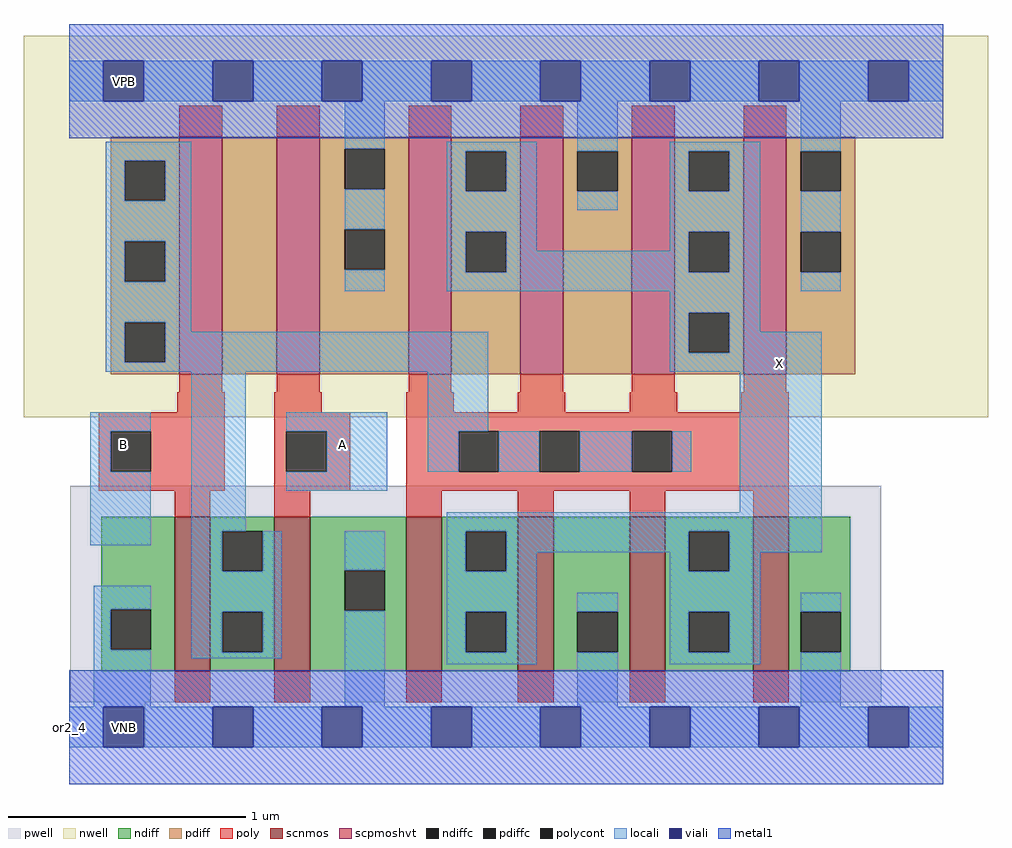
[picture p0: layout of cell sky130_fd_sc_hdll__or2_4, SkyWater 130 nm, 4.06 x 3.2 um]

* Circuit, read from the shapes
.subckt sky130_fd_sc_hdll__or2_4 A B VGND VNB VPB VPWR X
XM1 n1 B VGND VNB sky130_fd_pr__nfet_01v8 w=0.65 l=0.15
XM2 VGND A n1 VNB sky130_fd_pr__nfet_01v8 w=0.65 l=0.15
XM3 X n1 VGND VNB sky130_fd_pr__nfet_01v8 w=0.65 l=0.15 m=4
XM4 n2 B n1 VPB sky130_fd_pr__pfet_01v8_hvt w=1 l=0.18
XM5 VPWR A n2 VPB sky130_fd_pr__pfet_01v8_hvt w=1 l=0.18
XM6 X n1 VPWR VPB sky130_fd_pr__pfet_01v8_hvt w=1 l=0.18 m=4
.ends

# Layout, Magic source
magic
tech sky130A
magscale 1 2
<< nwell >>
rect -38 261 774 582
<< pwell >>
rect 1 21 684 203
rect 30 -17 64 21
<< scnmos >>
rect 89 47 119 177
rect 173 47 203 177
rect 284 47 314 177
rect 378 47 408 177
rect 472 47 502 177
rect 576 47 606 177
<< scpmoshvt >>
rect 93 297 129 497
rect 175 297 211 497
rect 286 297 322 497
rect 380 297 416 497
rect 474 297 510 497
rect 568 297 604 497
<< ndiff >>
rect 27 99 89 177
rect 27 65 35 99
rect 69 65 89 99
rect 27 47 89 65
rect 119 165 173 177
rect 119 131 129 165
rect 163 131 173 165
rect 119 97 173 131
rect 119 63 129 97
rect 163 63 173 97
rect 119 47 173 63
rect 203 132 284 177
rect 203 98 232 132
rect 266 98 284 132
rect 203 47 284 98
rect 314 165 378 177
rect 314 131 334 165
rect 368 131 378 165
rect 314 97 378 131
rect 314 63 334 97
rect 368 63 378 97
rect 314 47 378 63
rect 408 97 472 177
rect 408 63 428 97
rect 462 63 472 97
rect 408 47 472 63
rect 502 165 576 177
rect 502 131 522 165
rect 556 131 576 165
rect 502 97 576 131
rect 502 63 522 97
rect 556 63 576 97
rect 502 47 576 63
rect 606 97 658 177
rect 606 63 616 97
rect 650 63 658 97
rect 606 47 658 63
<< pdiff >>
rect 35 477 93 497
rect 35 443 47 477
rect 81 443 93 477
rect 35 409 93 443
rect 35 375 47 409
rect 81 375 93 409
rect 35 341 93 375
rect 35 307 47 341
rect 81 307 93 341
rect 35 297 93 307
rect 129 297 175 497
rect 211 487 286 497
rect 211 453 232 487
rect 266 453 286 487
rect 211 419 286 453
rect 211 385 232 419
rect 266 385 286 419
rect 211 297 286 385
rect 322 485 380 497
rect 322 451 334 485
rect 368 451 380 485
rect 322 417 380 451
rect 322 383 334 417
rect 368 383 380 417
rect 322 297 380 383
rect 416 485 474 497
rect 416 451 428 485
rect 462 451 474 485
rect 416 297 474 451
rect 510 485 568 497
rect 510 451 522 485
rect 556 451 568 485
rect 510 417 568 451
rect 510 383 522 417
rect 556 383 568 417
rect 510 349 568 383
rect 510 315 522 349
rect 556 315 568 349
rect 510 297 568 315
rect 604 485 662 497
rect 604 451 616 485
rect 650 451 662 485
rect 604 417 662 451
rect 604 383 616 417
rect 650 383 662 417
rect 604 297 662 383
<< ndiffc >>
rect 35 65 69 99
rect 129 131 163 165
rect 129 63 163 97
rect 232 98 266 132
rect 334 131 368 165
rect 334 63 368 97
rect 428 63 462 97
rect 522 131 556 165
rect 522 63 556 97
rect 616 63 650 97
<< pdiffc >>
rect 47 443 81 477
rect 47 375 81 409
rect 47 307 81 341
rect 232 453 266 487
rect 232 385 266 419
rect 334 451 368 485
rect 334 383 368 417
rect 428 451 462 485
rect 522 451 556 485
rect 522 383 556 417
rect 522 315 556 349
rect 616 451 650 485
rect 616 383 650 417
<< poly >>
rect 93 497 129 523
rect 175 497 211 523
rect 286 497 322 523
rect 380 497 416 523
rect 474 497 510 523
rect 568 497 604 523
rect 93 282 129 297
rect 175 282 211 297
rect 286 282 322 297
rect 380 282 416 297
rect 474 282 510 297
rect 568 282 604 297
rect 91 265 131 282
rect 25 249 131 265
rect 25 215 35 249
rect 69 215 131 249
rect 25 199 131 215
rect 173 265 213 282
rect 284 265 324 282
rect 378 265 418 282
rect 472 265 512 282
rect 566 265 606 282
rect 173 249 237 265
rect 173 215 183 249
rect 217 215 237 249
rect 173 199 237 215
rect 284 249 606 265
rect 284 215 328 249
rect 362 215 396 249
rect 430 215 474 249
rect 508 215 606 249
rect 284 199 606 215
rect 89 177 119 199
rect 173 177 203 199
rect 284 177 314 199
rect 378 177 408 199
rect 472 177 502 199
rect 576 177 606 199
rect 89 21 119 47
rect 173 21 203 47
rect 284 21 314 47
rect 378 21 408 47
rect 472 21 502 47
rect 576 21 606 47
<< polycont >>
rect 35 215 69 249
rect 183 215 217 249
rect 328 215 362 249
rect 396 215 430 249
rect 474 215 508 249
<< locali >>
rect 0 527 29 561
rect 63 527 121 561
rect 155 527 213 561
rect 247 527 305 561
rect 339 527 397 561
rect 431 527 489 561
rect 523 527 581 561
rect 615 527 673 561
rect 707 527 736 561
rect 31 477 103 493
rect 31 443 47 477
rect 81 443 103 477
rect 31 409 103 443
rect 31 375 47 409
rect 81 375 103 409
rect 31 341 103 375
rect 232 487 266 527
rect 232 419 266 453
rect 232 367 266 385
rect 318 485 394 493
rect 318 451 334 485
rect 368 451 394 485
rect 318 417 394 451
rect 428 485 462 527
rect 428 435 462 451
rect 506 485 582 493
rect 506 451 522 485
rect 556 451 582 485
rect 318 383 334 417
rect 368 401 394 417
rect 506 417 582 451
rect 506 401 522 417
rect 368 383 522 401
rect 556 383 582 417
rect 318 367 582 383
rect 616 485 650 527
rect 616 417 650 451
rect 616 367 650 383
rect 31 307 47 341
rect 81 333 103 341
rect 506 349 582 367
rect 81 307 353 333
rect 31 299 353 307
rect 506 315 522 349
rect 556 333 582 349
rect 556 315 634 333
rect 506 299 634 315
rect 18 249 69 265
rect 18 215 35 249
rect 18 153 69 215
rect 103 165 149 299
rect 183 249 268 265
rect 217 215 268 249
rect 302 249 353 299
rect 302 215 328 249
rect 362 215 396 249
rect 430 215 474 249
rect 508 215 524 249
rect 183 199 268 215
rect 565 181 634 299
rect 318 165 634 181
rect 103 131 129 165
rect 163 131 179 165
rect 21 99 69 119
rect 21 65 35 99
rect 21 17 69 65
rect 103 97 179 131
rect 103 63 129 97
rect 163 63 179 97
rect 103 58 179 63
rect 232 132 266 165
rect 232 17 266 98
rect 318 131 334 165
rect 368 147 522 165
rect 368 131 394 147
rect 318 97 394 131
rect 506 131 522 147
rect 556 147 634 165
rect 556 131 582 147
rect 318 63 334 97
rect 368 63 394 97
rect 318 53 394 63
rect 428 97 462 113
rect 428 17 462 63
rect 506 97 582 131
rect 506 63 522 97
rect 556 63 582 97
rect 506 53 582 63
rect 616 97 650 113
rect 616 17 650 63
rect 0 -17 29 17
rect 63 -17 121 17
rect 155 -17 213 17
rect 247 -17 305 17
rect 339 -17 397 17
rect 431 -17 489 17
rect 523 -17 581 17
rect 615 -17 673 17
rect 707 -17 736 17
<< viali >>
rect 29 527 63 561
rect 121 527 155 561
rect 213 527 247 561
rect 305 527 339 561
rect 397 527 431 561
rect 489 527 523 561
rect 581 527 615 561
rect 673 527 707 561
rect 29 -17 63 17
rect 121 -17 155 17
rect 213 -17 247 17
rect 305 -17 339 17
rect 397 -17 431 17
rect 489 -17 523 17
rect 581 -17 615 17
rect 673 -17 707 17
<< metal1 >>
rect 0 561 736 592
rect 0 527 29 561
rect 63 527 121 561
rect 155 527 213 561
rect 247 527 305 561
rect 339 527 397 561
rect 431 527 489 561
rect 523 527 581 561
rect 615 527 673 561
rect 707 527 736 561
rect 0 496 736 527
rect 0 17 736 48
rect 0 -17 29 17
rect 63 -17 121 17
rect 155 -17 213 17
rect 247 -17 305 17
rect 339 -17 397 17
rect 431 -17 489 17
rect 523 -17 581 17
rect 615 -17 673 17
rect 707 -17 736 17
rect 0 -48 736 -17
<< labels >>
flabel locali s 581 289 615 323 0 FreeSans 200 0 0 0 X
port 7 nsew signal output
flabel locali s 213 221 247 255 0 FreeSans 200 0 0 0 A
port 1 nsew signal input
flabel locali s 29 221 63 255 0 FreeSans 200 0 0 0 B
port 2 nsew signal input
flabel pwell s 30 -17 64 17 0 FreeSans 200 0 0 0 VNB
port 4 nsew ground bidirectional
flabel nwell s 30 527 64 561 0 FreeSans 200 0 0 0 VPB
port 5 nsew power bidirectional
flabel metal1 s 30 -17 64 17 0 FreeSans 200 0 0 0 VGND
port 3 nsew ground bidirectional
flabel metal1 s 30 527 64 561 0 FreeSans 200 0 0 0 VPWR
port 6 nsew power bidirectional
rlabel comment s 0 0 0 0 4 or2_4
<< properties >>
string LEFsite unithd
string LEFclass CORE
string FIXED_BBOX 0 0 736 544
string GDS_FILE $PDKPATH/libs.ref/sky130_fd_sc_hdll/gds/sky130_fd_sc_hdll.gds
string LEFsymmetry X Y R90
string GDS_END 2605972
string GDS_START 2599918
string LEFproperties maskLayoutSubType "abstract" prCellType "standard" originalViewName "layout"
<< end >>
